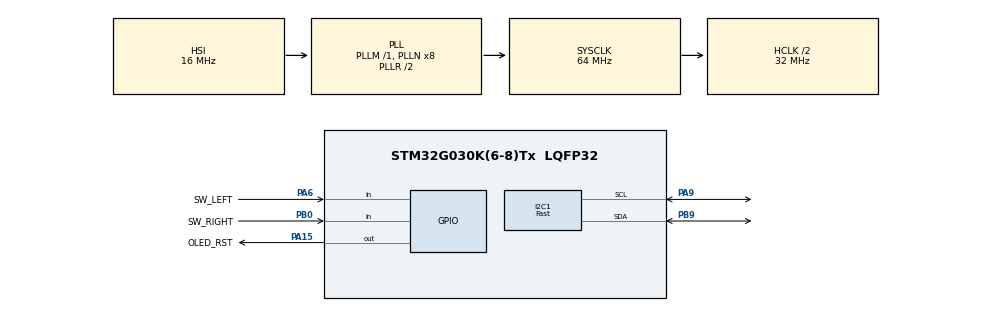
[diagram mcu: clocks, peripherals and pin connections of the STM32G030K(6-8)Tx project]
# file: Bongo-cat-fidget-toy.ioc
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I2C1.Analog_Filter=I2C_ANALOGFILTER_DISABLE
I2C1.I2C_Speed_Mode=I2C_Fast
I2C1.NoStretchMode=I2C_NOSTRETCH_ENABLE
I2C1.Timing=0x00601133
Mcu.Family=STM32G0
Mcu.Name=STM32G030K(6-8)Tx
Mcu.Package=LQFP32
NVIC.RCC_IRQn=true\:0\:0\:false\:true\:true\:1\:true\:false\:true
NVIC.TIM14_IRQn=true\:0\:0\:false\:true\:true\:2\:true\:true\:true
PA13.Mode=Serial_Wire
PA13.Signal=SYS_SWDIO
PA14-BOOT0.Mode=Serial_Wire
PA14-BOOT0.Signal=SYS_SWCLK
PA15.GPIO_Label=OLED_RST
PA15.Signal=GPIO_Output
PA6.GPIO_Label=SW_LEFT
PA6.Signal=GPIO_Input
PA9.GPIO_Pu=GPIO_PULLUP
PA9.GPIO_Speed=GPIO_SPEED_FREQ_VERY_HIGH
PA9.Mode=I2C
PA9.Signal=I2C1_SCL
PB0.GPIO_Label=SW_RIGHT
PB0.Signal=GPIO_Input
PB9.GPIO_Pu=GPIO_PULLUP
PB9.GPIO_Speed=GPIO_SPEED_FREQ_VERY_HIGH
PB9.Mode=I2C
PB9.Signal=I2C1_SDA
ProjectManager.HeapSize=0x200
ProjectManager.StackSize=0x400
ProjectManager.TargetToolchain=STM32CubeIDE
RCC.ADCFreq_Value=64000000
RCC.AHBCLKDivider=RCC_SYSCLK_DIV2
RCC.AHBFreq_Value=32000000
RCC.CortexFreq_Value=32000000
RCC.EXTERNAL_CLOCK_VALUE=12288000
RCC.HCLKFreq_Value=32000000
RCC.HSE_VALUE=8000000
RCC.HSI_VALUE=16000000
RCC.LSE_VALUE=32768
RCC.SYSCLKFreq_VALUE=64000000
RCC.SYSCLKSource=RCC_SYSCLKSOURCE_PLLCLK
RCC.VCOOutputFreq_Value=128000000
TIM14.Period=6400-1
TIM14.Prescaler=100-1
VP_TIM14_VS_ClockSourceINT.Mode=Enable_Timer
board=custom

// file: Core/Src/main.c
/* USER CODE BEGIN Header */
/**
  ******************************************************************************
  * @file           : main.c
  * @brief          : Main program body
  ******************************************************************************
  * @attention
  *
  * Copyright (c) 2024 STMicroelectronics.
  * All rights reserved.
  *
  * This software is licensed under terms that can be found in the LICENSE file
  * in the root directory of this software component.
  * If no LICENSE file comes with this software, it is provided AS-IS.
  *
  ******************************************************************************
  */
/* USER CODE END Header */
#include "main.h"

/* USER CODE BEGIN Includes */
#include "ssd1306.h"
#include "ssd1306_fonts.h"
#include "bitmap_extended.h"
#include "bitmap_extended_angry.h"
#include <stdio.h>  // For sprintf

/* USER CODE END Includes */

/* USER CODE BEGIN PTD */
// State machine states
typedef enum states {
    IDLE,
    SWITCH,
} state_e;

// Settings structure for flash storage
typedef struct {
    uint32_t total_taps;
    uint32_t left_taps;
    uint32_t right_taps;
    uint8_t display_inverted;
    uint8_t display_mode;
    uint8_t reserved1;  // Padding
    uint8_t reserved2;  // Padding
    uint32_t checksum;  // Simple validation
} Settings_t;
/* USER CODE END PTD */

/* USER CODE BEGIN PD */
#define IDLE_TIME 2000
#define TAP_DECAY_TIME 200
#define RESET_CONFIRM_TIMEOUT 10000

#define LEFT_PRESSED (sw_state_left == 0 && sw_state_right == 1)
#define RIGHT_PRESSED (sw_state_left == 1 && sw_state_right == 0)
#define BOTH_PRESSED (sw_state_left == 0 && sw_state_right == 0)
#define NONE_PRESSED (sw_state_left == 1 && sw_state_right == 1)

// Correct addresses for 64KB STM32G030K8
#define FLASH_SIZE              0x10000      // 64KB
#define FLASH_PAGE_SIZE         0x800        // 2KB per page
#define FLASH_PAGE_NB           32           // 64KB / 2KB = 32 pages (0-31)

// Use the last page (page 31) for storage
#define FLASH_USER_START_ADDR   0x0800F800   // Start of last page (page 31)
#define FLASH_USER_END_ADDR     0x0800FFFF   // End of flash

// Flash save timing
#define FLASH_SAVE_INTERVAL 30000  // Save every 30 seconds (30000ms)
#define SAVED_DISPLAY_TIME 2000     // Show "saved!" for 2 seconds

// Timer for display mode
#define MODE_SWITCH_TIME 2500  // 2.5 seconds to switch display mode

// Timer for invert toggle
#define INVERT_HOLD_TIME 2000  // 2 seconds to toggle invert

// Tap speed tracking
#define TAP_HISTORY_SIZE 20    // Number of taps to track for speed calculation
#define TAP_SPEED_WINDOW 1000  // Time window in ms for speed calculation

// Angry mode settings
#define ANGRY_MODE_ON_THRESHOLD  90   // Turn on at ≥ 9 taps/sec
#define ANGRY_MODE_OFF_THRESHOLD 80   // Turn off only below 7 taps/sec
#define ANGRY_MODE_DECAY_TIME 500  // Stay angry for 1 second after speed drops
/* USER CODE END PD */

I2C_HandleTypeDef hi2c1;

TIM_HandleTypeDef htim14;

/* USER CODE BEGIN PV */
// Switch states
int sw_state_left;
int sw_state_right;

// Animation counter
uint8_t idle_cnt;

// Settings structure
Settings_t settings = {0};

// Timer for display mode
uint32_t both_pressed_timer = 0;

// Timer for invert toggle
uint32_t invert_timer = 0;

// Flash save management
uint32_t last_save_time = 0;
uint8_t data_changed = 0;  // Flag to track if data needs saving

// Saved indicator
uint32_t saved_indicator_timer = 0;
uint8_t show_saved_indicator = 0;

// Current animation frame storage
char* current_frame = NULL;

// Tap speed tracking
uint32_t tap_timestamps[TAP_HISTORY_SIZE] = {0};
uint8_t tap_history_index = 0;
uint16_t current_tap_speed_x10 = 0;  // Speed * 10 to avoid float

// Angry mode decay
uint32_t angry_mode_timer = 0;

/* USER CODE END PV */

void SystemClock_Config(void);
static void MX_GPIO_Init(void);
static void MX_I2C1_Init(void);
static void MX_TIM14_Init(void);
static void MX_NVIC_Init(void);

/* USER CODE BEGIN PFP */

// Calculate simple checksum
uint32_t calculate_checksum(Settings_t *s) {
    uint32_t checksum = 0x12345678;  // Magic number
    checksum ^= s->total_taps;
    checksum ^= s->left_taps;
    checksum ^= s->right_taps;
    checksum ^= ((uint32_t)s->display_inverted << 8);
    checksum ^= ((uint32_t)s->display_mode << 16);
    return checksum;
}

// Helper function to check if we should use angry animations
uint8_t use_angry_mode(void) {
    static uint8_t angry_active = 0;
    uint32_t now = HAL_GetTick();

    if (current_tap_speed_x10 >= ANGRY_MODE_ON_THRESHOLD) {
        angry_mode_timer = now;
        angry_active = 1;
    } else if (angry_active && (current_tap_speed_x10 < ANGRY_MODE_OFF_THRESHOLD)) {
        if ((now - angry_mode_timer) >= ANGRY_MODE_DECAY_TIME) {
            angry_active = 0;
        }
    }

    return angry_active;
}

// Calculate current tap speed (taps per second * 10)
void calculate_tap_speed(void) {
    uint32_t current_time = HAL_GetTick();
    int valid_taps = 0;
    uint32_t oldest_valid_time = current_time;

    // Count taps within the time window
    for (int i = 0; i < TAP_HISTORY_SIZE; i++) {
        if (tap_timestamps[i] != 0 && (current_time - tap_timestamps[i]) <= TAP_SPEED_WINDOW) {
            valid_taps++;
            if (tap_timestamps[i] < oldest_valid_time) {
                oldest_valid_time = tap_timestamps[i];
            }
        }
    }

    // Calculate speed
    if (valid_taps >= 2 && oldest_valid_time < current_time) {
        uint32_t time_span = current_time - oldest_valid_time; // in milliseconds
        if (time_span > 0) {
            // Calculate taps per second * 10 (to get one decimal place)
            current_tap_speed_x10 = ((valid_taps - 1) * 10000) / time_span;
        } else {
            current_tap_speed_x10 = 0;
        }
    } else {
        current_tap_speed_x10 = 0;
    }
}

// Record a new tap for speed tracking
void record_tap_timestamp(void) {
    tap_timestamps[tap_history_index] = HAL_GetTick();
    tap_history_index = (tap_history_index + 1) % TAP_HISTORY_SIZE;
    calculate_tap_speed();
}

void toggle_display_invert(void) {
    settings.display_inverted = !settings.display_inverted;
    ssd1306_InvertDisplay(settings.display_inverted);

    // Mark data as changed
    data_changed = 1;

    // Visual feedback
    for(int i = 0; i < 2; i++) {
        ssd1306_Fill(White);
        ssd1306_UpdateScreen();
        HAL_Delay(50);
        ssd1306_Fill(Black);
        ssd1306_UpdateScreen();
        HAL_Delay(50);
    }
}

void draw_animation(char* frame){
    ssd1306_Fill(Black);
    ssd1306_DrawBitmap(0,0,frame,128,64,White);
    current_frame = frame;  // Store current frame
}

void draw_animation_no_clear(char* frame){
    // Draw without clearing - useful for transitions
    ssd1306_DrawBitmap(0,0,frame,128,64,White);
    current_frame = frame;
}

void draw_animation_erase(char* frame){
    ssd1306_DrawBitmap(0,0,frame,128,64,Black);
}

void draw_animation_transparent(char* frame){
    ssd1306_DrawBitmap(0,0,frame,128,64,White);
}

void readPins(){
    sw_state_left = !HAL_GPIO_ReadPin(SW_LEFT_GPIO_Port, SW_LEFT_Pin);
    sw_state_right = !HAL_GPIO_ReadPin(SW_RIGHT_GPIO_Port, SW_RIGHT_Pin);
}

// Display tap count as overlay
void display_tap_count_overlay(void) {
    char buffer[32];

    // Display total tap count in top left
    sprintf(buffer, "%lu", settings.total_taps);
    ssd1306_SetCursor(2, 1);
    ssd1306_WriteString(buffer, ComicSans_11x12, White);

    // Display tap speed in top right
    if (current_tap_speed_x10 > 1) {  // Only show if actively tapping
        // Format speed with one decimal place
        uint16_t whole = current_tap_speed_x10 / 10;
        uint16_t decimal = current_tap_speed_x10 % 10;

        if (whole >= 10) {
            sprintf(buffer, "%u/s", whole);
        } else {
            sprintf(buffer, "%u.%u/s", whole, decimal);
        }

        ssd1306_SetCursor(95, 1);
        ssd1306_WriteString(buffer, ComicSans_11x12, White);
    }
}

// Display saved indicator
void display_saved_indicator(void) {
    // Display "saved!" in bottom right corner
    ssd1306_SetCursor(80, 52);
    ssd1306_WriteString("saved!", ComicSans_11x12, White);
}

// Update display with overlays
void update_display_with_overlays(void) {
    // Draw overlay on top if enabled
    if (settings.display_mode) {
        display_tap_count_overlay();
    }

    // Show saved indicator if active
    if (show_saved_indicator) {
        display_saved_indicator();
    }

    ssd1306_UpdateScreen();
}

// Redraw current frame with overlays
void redraw_current_frame(void) {
    if (current_frame != NULL) {
        draw_animation(current_frame);
        update_display_with_overlays();
    }
}

// Save all settings to flash
void save_settings(void) {
    // Update checksum
    settings.checksum = calculate_checksum(&settings);

    HAL_FLASH_Unlock();

    FLASH_EraseInitTypeDef EraseInitStruct;
    uint32_t PageError;

    EraseInitStruct.TypeErase = FLASH_TYPEERASE_PAGES;
    EraseInitStruct.Page = 31;  // Last page for 64KB device
    EraseInitStruct.NbPages = 1;

    HAL_FLASHEx_Erase(&EraseInitStruct, &PageError);

    // Write entire structure using doubleword programming
    uint64_t *data = (uint64_t*)&settings;
    uint32_t address = FLASH_USER_START_ADDR;

    // Calculate number of doublewords to write
    int doublewords = (sizeof(Settings_t) + 7) / 8;  // Round up to nearest 8 bytes

    for(int i = 0; i < doublewords; i++) {
        HAL_FLASH_Program(FLASH_TYPEPROGRAM_DOUBLEWORD, address, data[i]);
        address += 8;
    }

    HAL_FLASH_Lock();

    // Update last save time
    last_save_time = HAL_GetTick();
    data_changed = 0;  // Clear the changed flag

    // Trigger saved indicator
    show_saved_indicator = 1;
    saved_indicator_timer = HAL_GetTick();
}

// Load all settings from flash
void load_settings(void) {
    Settings_t loaded_settings;

    // Read entire structure from flash
    uint64_t *dest = (uint64_t*)&loaded_settings;
    uint64_t *src = (uint64_t*)FLASH_USER_START_ADDR;

    int doublewords = (sizeof(Settings_t) + 7) / 8;

    for(int i = 0; i < doublewords; i++) {
        dest[i] = src[i];
    }

    // Verify checksum
    if(loaded_settings.checksum == calculate_checksum(&loaded_settings) &&
       loaded_settings.checksum != 0xFFFFFFFF) {
        // Valid data, copy to working structure
        settings = loaded_settings;
    } else {
        // Invalid or no data, use defaults
        settings.total_taps = 0;
        settings.left_taps = 0;
        settings.right_taps = 0;
        settings.display_inverted = 0;
        settings.display_mode = 0;
        settings.checksum = 0;
    }
}

// Reset all counters and settings
void reset_all_settings(void) {
    // Don't do flash operations too early
    if (HAL_GetTick() < 100) {
        HAL_Delay(100);  // Ensure system is stable
    }

    // Set values to defaults
    settings.total_taps = 0;
    settings.left_taps = 0;
    settings.right_taps = 0;
    settings.display_inverted = 0;
    settings.display_mode = 1;

    // Clear tap history
    for (int i = 0; i < TAP_HISTORY_SIZE; i++) {
        tap_timestamps[i] = 0;
    }
    tap_history_index = 0;
    current_tap_speed_x10 = 0;
    angry_mode_timer = 0;  // Clear angry mode timer

    // Save the reset settings
    save_settings();
}

// Check if it's time to save to flash
void check_and_save(void) {
    if (data_changed && (HAL_GetTick() - last_save_time >= FLASH_SAVE_INTERVAL)) {
        save_settings();
    }
}

// Force save (for important events)
void force_save(void) {
    if (data_changed) {
        save_settings();
    }
}

// Update saved indicator visibility
void update_saved_indicator(void) {
    if (show_saved_indicator && (HAL_GetTick() - saved_indicator_timer >= SAVED_DISPLAY_TIME)) {
        show_saved_indicator = 0;
    }
}

// Handle display mode switching (both buttons held)
uint8_t handle_display_mode_switch(void) {
    if (BOTH_PRESSED) {
        if (both_pressed_timer == 0) {
            both_pressed_timer = HAL_GetTick();
        } else if (HAL_GetTick() - both_pressed_timer >= MODE_SWITCH_TIME) {
            settings.display_mode = !settings.display_mode;
            both_pressed_timer = 0;
            data_changed = 1;  // Mark data as changed

            // Immediately update display to show/hide overlay
            redraw_current_frame();

            // Force save when switching modes
            force_save();

            return 1; // Mode switched
        }
    } else {
        both_pressed_timer = 0;
    }
    return 0; // No mode switch
}

// Handle invert toggle (left button held)
uint8_t handle_invert_toggle(void) {
    if (LEFT_PRESSED && !RIGHT_PRESSED && both_pressed_timer == 0) {
        if (invert_timer == 0) {
            invert_timer = HAL_GetTick();
        } else if (HAL_GetTick() - invert_timer >= INVERT_HOLD_TIME) {
            toggle_display_invert();
            invert_timer = 0;

            // Wait for button release
            while(LEFT_PRESSED) {
                HAL_Delay(10);
                readPins();
            }
            return 1; // Inverted
        }
    } else {
        invert_timer = 0;
    }
    return 0; // No invert
}

// Register a tap and increment counters
void register_tap(uint8_t is_left) {
    if (is_left) {
        settings.left_taps++;
    } else {
        settings.right_taps++;
    }
    settings.total_taps++;
    data_changed = 1;

    // Record timestamp for speed calculation
    record_tap_timestamp();
}

// Handle tap animations and decay
void handle_tap_decay(int32_t *tap_left_cntr, int32_t *tap_right_cntr) {

    if(*tap_left_cntr > 0){
        if(HAL_GetTick() - *tap_left_cntr > TAP_DECAY_TIME) {
            draw_animation_erase(&img_tap_left);
            *tap_left_cntr = 0;
        }
        else{
            draw_animation_transparent(&img_tap_left);
        }
    }
    if(*tap_right_cntr > 0){
        if(HAL_GetTick() - *tap_right_cntr > TAP_DECAY_TIME) {
            draw_animation_erase(&img_tap_right);
            *tap_right_cntr = 0;
        }
        else{
            draw_animation_transparent(&img_tap_right);
        }
    }
}

// Handle paw animations based on button states
void handle_paw_animations(uint8_t *left_state, uint8_t *right_state,
                          int32_t *tap_left_cntr, int32_t *tap_right_cntr,
                          int32_t *idle_cntr) {
    *idle_cntr = 0;

    uint8_t angry = use_angry_mode();
    if((BOTH_PRESSED) && ((*left_state | *right_state) == 0 || (*left_state ^ *right_state) == 1)){
        draw_animation(angry ? &img_both_down_alt_angry : &img_both_down_alt);
        if(!*right_state){
            draw_animation_transparent(&img_tap_right);
            *tap_right_cntr = HAL_GetTick();
            register_tap(0); // Right tap
        }
        if(!*left_state){
            draw_animation_transparent(&img_tap_left);
            *tap_left_cntr = HAL_GetTick();
            register_tap(1); // Left tap
        }
        *right_state = 1;
        *left_state = 1;
    }
    else if(RIGHT_PRESSED){
        if(*right_state == 0 || *left_state == 1){
            draw_animation(angry ? &img_right_down_alt_angry : &img_right_down_alt);
            if(!*right_state){
                draw_animation_transparent(&img_tap_right);
                *tap_right_cntr = HAL_GetTick();
                register_tap(0); // Right tap
            }
            *right_state = 1;
        }
        if(*left_state)
            *left_state = 0;
    }
    else if(LEFT_PRESSED){
        if(*left_state == 0 || *right_state == 1){
            draw_animation(angry ? &img_left_down_alt_angry : &img_left_down_alt);
            if(!*left_state){
                draw_animation_transparent(&img_tap_left);
                *tap_left_cntr = HAL_GetTick();
                register_tap(1); // Left tap
            }
            *left_state = 1;
        }
        if(*right_state)
            *right_state = 0;
    }
}

// Check if should return to idle state
uint8_t check_idle_transition(int32_t *idle_cntr, uint8_t *left_state, uint8_t *right_state) {
    if(NONE_PRESSED){
        uint8_t angry = use_angry_mode();
        draw_animation(angry ? &img_both_up_angry : &img_both_up);
        if(*idle_cntr == 0){
            *idle_cntr = HAL_GetTick();
        }
        if(HAL_GetTick() - *idle_cntr >= IDLE_TIME){
            *idle_cntr = 0;
            // Force save before going to idle
            force_save();
            return 1; // Should transition to idle
        }
        if(*left_state)
            *left_state = 0;
        if(*right_state)
            *right_state = 0;
    }
    return 0; // Stay in current state
}

void handle_reset(){
    // Show confirmation prompt
    ssd1306_SetCursor(27, 10);  // x = 9
    ssd1306_WriteString("RESET ALL?", ComicSans_11x12, White);
    ssd1306_SetCursor(27, 26);  // x = 3
    ssd1306_WriteString("Press again", ComicSans_11x12, White);
    ssd1306_SetCursor(27, 42);  // x = 9
    ssd1306_WriteString("to confirm", ComicSans_11x12, White);
    ssd1306_UpdateScreen();
    // Wait for button release
    while(RIGHT_PRESSED) {
        HAL_Delay(10);
        readPins();
    }

    // Wait for confirmation press
    uint32_t confirm_start = HAL_GetTick();
    uint8_t confirmed = 0;

    while(HAL_GetTick() - confirm_start < RESET_CONFIRM_TIMEOUT) {
        readPins();

        if(RIGHT_PRESSED) {
            confirmed = 1;
            break;
        }

        HAL_Delay(100);
    }

    if(confirmed) {
        // Perform reset
        reset_all_settings();
        ssd1306_InvertDisplay(0);  // Apply default display mode

        // Show success feedback
        ssd1306_Fill(Black);
        ssd1306_SetCursor(35, 20);
        ssd1306_WriteString("RESET OK!", ComicSans_11x12, White);
        ssd1306_UpdateScreen();
        HAL_Delay(1000);

        // Wait for button release
        while(RIGHT_PRESSED) {
            HAL_Delay(10);
            readPins();
        }
    } else {
        // Cancelled
        ssd1306_Fill(Black);
        ssd1306_SetCursor(40, 25);
        ssd1306_WriteString("Cancelled", ComicSans_11x12, White);
        ssd1306_UpdateScreen();
        HAL_Delay(1000);
    }

    // Clear screen
    ssd1306_Fill(Black);
    ssd1306_UpdateScreen();
}

void handle_credits(){
    // Show confirmation prompt
    ssd1306_SetCursor(5, 10);  // x = 9
    ssd1306_WriteString("Bongo Cat Fidget Toy", ComicSans_11x12, White);
    ssd1306_SetCursor(13, 21);  // x = 3
    ssd1306_WriteString("by Afonso Muralha", ComicSans_11x12, White);
    ssd1306_SetCursor(13, 40);  // x = 9
    ssd1306_WriteString("afonsomuralha.com", ComicSans_11x12, White);

    ssd1306_UpdateScreen();
    // Wait for button release
    while(BOTH_PRESSED || LEFT_PRESSED || RIGHT_PRESSED) {
        HAL_Delay(10);
        readPins();
    }

    while(1) {
        readPins();

        if(RIGHT_PRESSED || LEFT_PRESSED || BOTH_PRESSED) {
            break;
        }

        HAL_Delay(100);
    }

    // Clear screen
    ssd1306_Fill(Black);
    ssd1306_UpdateScreen();
}

// Handle boot-time button overrides
void handle_boot_overrides(void) {
    readPins();

    // Show credits
    if(BOTH_PRESSED){
        handle_credits();
    }else{
        // If left is pressed at boot, toggle invert from saved state
        if(LEFT_PRESSED) {
            toggle_display_invert();
            force_save();  // Save immediately for boot-time changes
            // Wait for button release
            while(LEFT_PRESSED) {
                HAL_Delay(10);
                readPins();
            }
        }

        // If right is pressed at boot, reset everything
        if(RIGHT_PRESSED) {
            handle_reset();
        }
    }
}

// Update tap speed regularly
void update_tap_speed(void) {
    static uint32_t last_speed_update = 0;
    uint32_t current_time = HAL_GetTick();

    // Update speed calculation every 100ms
    if (current_time - last_speed_update >= 100) {
        calculate_tap_speed();
        last_speed_update = current_time;
    }
}

// Callback: timer has rolled over
void HAL_TIM_PeriodElapsedCallback(TIM_HandleTypeDef *htim)
{
    if (htim == &htim14)
    {
        readPins();
    }
}

/* USER CODE END PFP */

int main(void)
{

  /* MCU Configuration--------------------------------------------------------*/

  /* Reset of all peripherals, Initializes the Flash interface and the Systick. */
  HAL_Init();

  /* Configure the system clock */
  SystemClock_Config();

  /* Initialize all configured peripherals */
  MX_GPIO_Init();
  MX_I2C1_Init();
  MX_TIM14_Init();

  /* Initialize interrupts */
  MX_NVIC_Init();
  /* USER CODE BEGIN 2 */
  HAL_GPIO_WritePin(OLED_RST_GPIO_Port, OLED_RST_Pin, GPIO_PIN_RESET);
  HAL_Delay(10);
  HAL_GPIO_WritePin(OLED_RST_GPIO_Port, OLED_RST_Pin, GPIO_PIN_SET);
  ssd1306_Init();

  load_settings();

  // Apply the loaded display invert setting
  ssd1306_InvertDisplay(settings.display_inverted);

  // Initialize save time
  last_save_time = HAL_GetTick();

  // Check button states at boot for override options
  handle_boot_overrides();

  state_e state = IDLE;
  int32_t idle_cntr = 0;
  int32_t tap_left_cntr = 0;
  int32_t tap_right_cntr = 0;
  uint8_t left_state = 0;
  uint8_t right_state = 0;

  HAL_TIM_Base_Start_IT(&htim14);

  while(1) {
    // Periodic tasks
    check_and_save();
    update_saved_indicator();
    update_tap_speed();

    switch(state){
    case IDLE:
        if(sw_state_left == 0 || sw_state_right == 0){
            // Smooth transition - no clear, just go to SWITCH state
            state = SWITCH;
        } else {
            // Idle animation
            draw_animation(ani_idle[idle_cnt]);
            update_display_with_overlays();
            idle_cnt = (idle_cnt + 1) % ani_idle_LEN;
            HAL_Delay(100);
        }
        break;

    case SWITCH:
        // Handle special button combos
        handle_display_mode_switch();

        // Check for idle transition
        if(check_idle_transition(&idle_cntr, &left_state, &right_state)) {
            state = IDLE;
        }
        // Handle normal paw animations
        else if(!NONE_PRESSED) {
            handle_paw_animations(&left_state, &right_state,
                                &tap_left_cntr, &tap_right_cntr, &idle_cntr);
        }

        // Handle tap decay animations
        handle_tap_decay(&tap_left_cntr, &tap_right_cntr);

        // Update display with all overlays
        update_display_with_overlays();
        break;
    }
  }
  /* USER CODE END 2 */

  /* Infinite loop */
  while (1)
  {

  }
}

void SystemClock_Config(void)
{
  RCC_OscInitTypeDef RCC_OscInitStruct = {0};
  RCC_ClkInitTypeDef RCC_ClkInitStruct = {0};

  /** Configure the main internal regulator output voltage
  */
  HAL_PWREx_ControlVoltageScaling(PWR_REGULATOR_VOLTAGE_SCALE1);

  /** Initializes the RCC Oscillators according to the specified parameters
  * in the RCC_OscInitTypeDef structure.
  */
  RCC_OscInitStruct.OscillatorType = RCC_OSCILLATORTYPE_HSI;
  RCC_OscInitStruct.HSIState = RCC_HSI_ON;
  RCC_OscInitStruct.HSIDiv = RCC_HSI_DIV1;
  RCC_OscInitStruct.HSICalibrationValue = RCC_HSICALIBRATION_DEFAULT;
  RCC_OscInitStruct.PLL.PLLState = RCC_PLL_ON;
  RCC_OscInitStruct.PLL.PLLSource = RCC_PLLSOURCE_HSI;
  RCC_OscInitStruct.PLL.PLLM = RCC_PLLM_DIV1;
  RCC_OscInitStruct.PLL.PLLN = 8;
  RCC_OscInitStruct.PLL.PLLP = RCC_PLLP_DIV2;
  RCC_OscInitStruct.PLL.PLLR = RCC_PLLR_DIV2;
  if (HAL_RCC_OscConfig(&RCC_OscInitStruct) != HAL_OK)
  {
    Error_Handler();
  }

  /** Initializes the CPU, AHB and APB buses clocks
  */
  RCC_ClkInitStruct.ClockType = RCC_CLOCKTYPE_HCLK|RCC_CLOCKTYPE_SYSCLK
                              |RCC_CLOCKTYPE_PCLK1;
  RCC_ClkInitStruct.SYSCLKSource = RCC_SYSCLKSOURCE_PLLCLK;
  RCC_ClkInitStruct.AHBCLKDivider = RCC_SYSCLK_DIV2;
  RCC_ClkInitStruct.APB1CLKDivider = RCC_HCLK_DIV1;

  if (HAL_RCC_ClockConfig(&RCC_ClkInitStruct, FLASH_LATENCY_1) != HAL_OK)
  {
    Error_Handler();
  }
}

/**
  * @brief NVIC Configuration.
  * @retval None
  */
static void MX_NVIC_Init(void)
{
  /* RCC_IRQn interrupt configuration */
  HAL_NVIC_SetPriority(RCC_IRQn, 0, 0);
  HAL_NVIC_EnableIRQ(RCC_IRQn);
  /* TIM14_IRQn interrupt configuration */
  HAL_NVIC_SetPriority(TIM14_IRQn, 0, 0);
  HAL_NVIC_EnableIRQ(TIM14_IRQn);
}

static void MX_I2C1_Init(void)
{

  hi2c1.Instance = I2C1;
  hi2c1.Init.Timing = 0x00601133;
  hi2c1.Init.OwnAddress1 = 0;
  hi2c1.Init.AddressingMode = I2C_ADDRESSINGMODE_7BIT;
  hi2c1.Init.DualAddressMode = I2C_DUALADDRESS_DISABLE;
  hi2c1.Init.OwnAddress2 = 0;
  hi2c1.Init.OwnAddress2Masks = I2C_OA2_NOMASK;
  hi2c1.Init.GeneralCallMode = I2C_GENERALCALL_DISABLE;
  hi2c1.Init.NoStretchMode = I2C_NOSTRETCH_ENABLE;
  if (HAL_I2C_Init(&hi2c1) != HAL_OK)
  {
    Error_Handler();
  }

  /** Configure Analogue filter
  */
  if (HAL_I2CEx_ConfigAnalogFilter(&hi2c1, I2C_ANALOGFILTER_DISABLE) != HAL_OK)
  {
    Error_Handler();
  }

  /** Configure Digital filter
  */
  if (HAL_I2CEx_ConfigDigitalFilter(&hi2c1, 0) != HAL_OK)
  {
    Error_Handler();
  }

}

static void MX_TIM14_Init(void)
{
  htim14.Instance = TIM14;
  htim14.Init.Prescaler = 32-1;      // Was 100-1
  htim14.Init.CounterMode = TIM_COUNTERMODE_UP;
  htim14.Init.Period = 10000-1;      // 32MHz/32/10000 = 100Hz
  htim14.Init.ClockDivision = TIM_CLOCKDIVISION_DIV1;
  htim14.Init.AutoReloadPreload = TIM_AUTORELOAD_PRELOAD_DISABLE;
  if (HAL_TIM_Base_Init(&htim14) != HAL_OK)
  {
    Error_Handler();
  }
}

static void MX_GPIO_Init(void)
{
  GPIO_InitTypeDef GPIO_InitStruct = {0};

  /* GPIO Ports Clock Enable */
  __HAL_RCC_GPIOB_CLK_ENABLE();
  __HAL_RCC_GPIOC_CLK_ENABLE();
  __HAL_RCC_GPIOA_CLK_ENABLE();

  /*Configure GPIO pin Output Level */
  HAL_GPIO_WritePin(OLED_RST_GPIO_Port, OLED_RST_Pin, GPIO_PIN_RESET);

  /*Configure GPIO pins : PC14 PC15 PC6 */
  GPIO_InitStruct.Pin = GPIO_PIN_14|GPIO_PIN_15|GPIO_PIN_6;
  GPIO_InitStruct.Mode = GPIO_MODE_ANALOG;
  GPIO_InitStruct.Pull = GPIO_NOPULL;
  HAL_GPIO_Init(GPIOC, &GPIO_InitStruct);

  /*Configure GPIO pins : PA0 PA1 PA2 PA3
                           PA4 PA5 PA7 PA8
                           PA10 PA11 PA12 */
  GPIO_InitStruct.Pin = GPIO_PIN_0|GPIO_PIN_1|GPIO_PIN_2|GPIO_PIN_3
                          |GPIO_PIN_4|GPIO_PIN_5|GPIO_PIN_7|GPIO_PIN_8
                          |GPIO_PIN_10|GPIO_PIN_11|GPIO_PIN_12;
  GPIO_InitStruct.Mode = GPIO_MODE_ANALOG;
  GPIO_InitStruct.Pull = GPIO_NOPULL;
  HAL_GPIO_Init(GPIOA, &GPIO_InitStruct);

  /*Configure GPIO pin : SW_LEFT_Pin */
  GPIO_InitStruct.Pin = SW_LEFT_Pin;
  GPIO_InitStruct.Mode = GPIO_MODE_INPUT;
  GPIO_InitStruct.Pull = GPIO_NOPULL;
  HAL_GPIO_Init(SW_LEFT_GPIO_Port, &GPIO_InitStruct);

  /*Configure GPIO pin : SW_RIGHT_Pin */
  GPIO_InitStruct.Pin = SW_RIGHT_Pin;
  GPIO_InitStruct.Mode = GPIO_MODE_INPUT;
  GPIO_InitStruct.Pull = GPIO_NOPULL;
  HAL_GPIO_Init(SW_RIGHT_GPIO_Port, &GPIO_InitStruct);

  /*Configure GPIO pins : PB1 PB2 PB3 PB4
                           PB5 PB6 PB7 PB8 */
  GPIO_InitStruct.Pin = GPIO_PIN_1|GPIO_PIN_2|GPIO_PIN_3|GPIO_PIN_4
                          |GPIO_PIN_5|GPIO_PIN_6|GPIO_PIN_7|GPIO_PIN_8;
  GPIO_InitStruct.Mode = GPIO_MODE_ANALOG;
  GPIO_InitStruct.Pull = GPIO_NOPULL;
  HAL_GPIO_Init(GPIOB, &GPIO_InitStruct);

  /*Configure GPIO pin : OLED_RST_Pin */
  GPIO_InitStruct.Pin = OLED_RST_Pin;
  GPIO_InitStruct.Mode = GPIO_MODE_OUTPUT_PP;
  GPIO_InitStruct.Pull = GPIO_NOPULL;
  GPIO_InitStruct.Speed = GPIO_SPEED_FREQ_LOW;
  HAL_GPIO_Init(OLED_RST_GPIO_Port, &GPIO_InitStruct);

}

void Error_Handler(void)
{
  __disable_irq();
  while (1)
  {
  }
}
